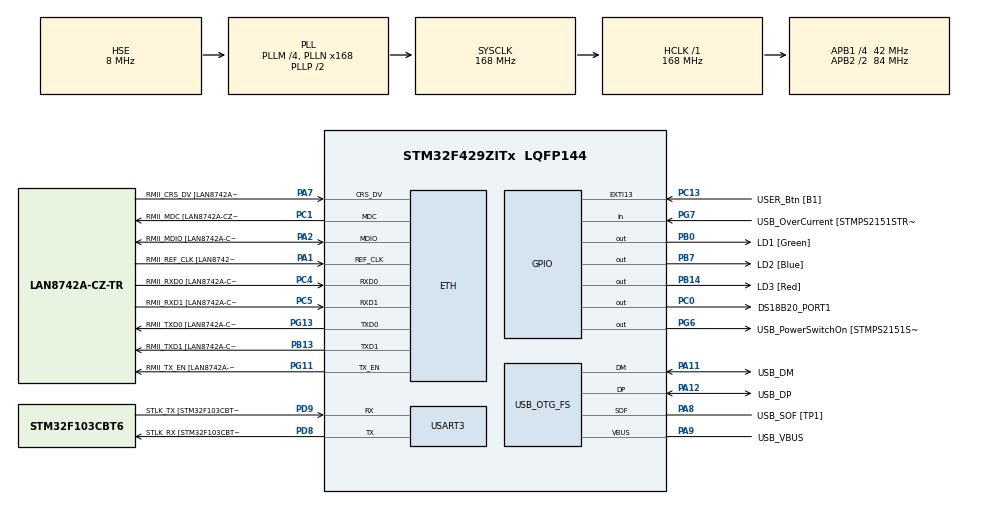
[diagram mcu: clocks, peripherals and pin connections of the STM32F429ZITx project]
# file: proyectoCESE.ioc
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ETH.MediaInterface=HAL_ETH_RMII_MODE
ETH.PHY_Name=LAN8742A_PHY_ADDRESS
ETH.PHY_Value=0
ETH.PhyAddress=0
Mcu.Family=STM32F4
Mcu.Name=STM32F429ZITx
Mcu.Package=LQFP144
NVIC.PriorityGroup=NVIC_PRIORITYGROUP_4
PA1.GPIO_Label=RMII_REF_CLK [LAN8742A-CZ-TR_REFCLK0]
PA1.Mode=RMII
PA1.Signal=ETH_REF_CLK
PA10.GPIO_Label=USB_ID
PA10.Signal=USB_OTG_FS_ID
PA11.GPIO_Label=USB_DM
PA11.Mode=Device_Only
PA11.Signal=USB_OTG_FS_DM
PA12.GPIO_Label=USB_DP
PA12.Mode=Device_Only
PA12.Signal=USB_OTG_FS_DP
PA13.GPIO_Label=TMS
PA13.Mode=Serial_Wire
PA13.Signal=SYS_JTMS-SWDIO
PA14.GPIO_Label=TCK
PA14.Mode=Serial_Wire
PA14.Signal=SYS_JTCK-SWCLK
PA2.GPIO_Label=RMII_MDIO [LAN8742A-CZ-TR_MDIO]
PA2.Mode=RMII
PA2.Signal=ETH_MDIO
PA7.GPIO_Label=RMII_CRS_DV [LAN8742A-CZ-TR_CRS_DV]
PA7.Mode=RMII
PA7.Signal=ETH_CRS_DV
PA8.GPIO_Label=USB_SOF [TP1]
PA8.Mode=Activate_SOF_FS
PA8.Signal=USB_OTG_FS_SOF
PA9.GPIO_Label=USB_VBUS
PA9.Mode=Activate_VBUS
PA9.Signal=USB_OTG_FS_VBUS
PB0.GPIO_Label=LD1 [Green]
PB0.Signal=GPIO_Output
PB13.GPIO_Label=RMII_TXD1 [LAN8742A-CZ-TR_TXD1]
PB13.Mode=RMII
PB13.Signal=ETH_TXD1
PB14.GPIO_Label=LD3 [Red]
PB14.Signal=GPIO_Output
PB7.GPIO_Label=LD2 [Blue]
PB7.Signal=GPIO_Output
PC0.GPIO_Label=DS18B20_PORT1
PC0.GPIO_ModeDefaultOutputPP=GPIO_MODE_OUTPUT_PP
PC0.GPIO_Speed=GPIO_SPEED_FREQ_HIGH
PC0.Signal=GPIO_Output
PC1.GPIO_Label=RMII_MDC [LAN8742A-CZ-TR_MDC]
PC1.Mode=RMII
PC1.Signal=ETH_MDC
PC13.GPIO_Label=USER_Btn [B1]
PC13.Signal=GPXTI13
PC14/OSC32_IN.Mode=LSE-External-Oscillator
PC14/OSC32_IN.Signal=RCC_OSC32_IN
PC15/OSC32_OUT.Mode=LSE-External-Oscillator
PC15/OSC32_OUT.Signal=RCC_OSC32_OUT
PC4.GPIO_Label=RMII_RXD0 [LAN8742A-CZ-TR_RXD0]
PC4.Mode=RMII
PC4.Signal=ETH_RXD0
PC5.GPIO_Label=RMII_RXD1 [LAN8742A-CZ-TR_RXD1]
PC5.Mode=RMII
PC5.Signal=ETH_RXD1
PD8.GPIO_Label=STLK_RX [STM32F103CBT6_PA3]
PD8.Mode=Asynchronous
PD8.Signal=USART3_TX
PD9.GPIO_Label=STLK_TX [STM32F103CBT6_PA2]
PD9.Mode=Asynchronous
PD9.Signal=USART3_RX
PG11.GPIO_Label=RMII_TX_EN [LAN8742A-CZ-TR_TXEN]
PG11.Mode=RMII
PG11.Signal=ETH_TX_EN
PG13.GPIO_Label=RMII_TXD0 [LAN8742A-CZ-TR_TXD0]
PG13.Mode=RMII
PG13.Signal=ETH_TXD0
PG6.GPIO_Label=USB_PowerSwitchOn [STMPS2151STR_EN]
PG6.Signal=GPIO_Output
PG7.GPIO_Label=USB_OverCurrent [STMPS2151STR_FAULT]
PG7.Signal=GPIO_Input
PH0/OSC_IN.GPIO_Label=MCO [STM32F103CBT6_PA8]
PH0/OSC_IN.Mode=HSE-External-Clock-Source
PH0/OSC_IN.Signal=RCC_OSC_IN
PH1/OSC_OUT.Mode=HSE-External-Clock-Source
PH1/OSC_OUT.Signal=RCC_OSC_OUT
ProjectManager.HeapSize=0x200
ProjectManager.StackSize=0x400
ProjectManager.TargetToolchain=STM32CubeIDE
RCC.48MHZClocksFreq_Value=48000000
RCC.AHBFreq_Value=168000000
RCC.APB1CLKDivider=RCC_HCLK_DIV4
RCC.APB1Freq_Value=42000000
RCC.APB1TimFreq_Value=84000000
RCC.APB2CLKDivider=RCC_HCLK_DIV2
RCC.APB2Freq_Value=84000000
RCC.APB2TimCLKDivider=2
RCC.APB2TimFreq_Value=168000000
RCC.CortexFreq_Value=168000000
RCC.HCLKFreq_Value=168000000
RCC.HSE_VALUE=8000000
RCC.HSI_VALUE=16000000
RCC.PLLM=4
RCC.PLLMUL=RCC_PLL_MUL9
RCC.PLLN=168
RCC.PLLQ=7
RCC.PRESCALERUSB=RCC_USBCLKSOURCE_PLL_DIV1_5
RCC.SYSCLKFreq_VALUE=168000000
RCC.SYSCLKSource=RCC_SYSCLKSOURCE_PLLCLK
RCC.SYSCLKSourceVirtual=RCC_SYSCLKSOURCE_PLLCLK
RCC.USBFreq_Value=48000000
RCC.VCOOutputFreq_Value=336000000
TIM7.AutoReloadPreload=TIM_AUTORELOAD_PRELOAD_DISABLE
TIM7.Prescaler=84
TIM7.TIM_MasterOutputTrigger=TIM_TRGO_ENABLE
USART3.VirtualMode=VM_ASYNC
USB_OTG_FS.VirtualMode=Device_Only
VP_TIM7_VS_ClockSourceINT.Mode=Enable_Timer
board=NUCLEO-F429ZI

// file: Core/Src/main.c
/* USER CODE BEGIN Header */
/**
  ******************************************************************************
  * @file           : main.c
  * @brief          : Main program body
  ******************************************************************************
  * @attention
  *
  * Copyright (c) 2022 STMicroelectronics.
  * All rights reserved.
  *
  * This software is licensed under terms that can be found in the LICENSE file
  * in the root directory of this software component.
  * If no LICENSE file comes with this software, it is provided AS-IS.
  *
  ******************************************************************************
  */
/* USER CODE END Header */
#include "main.h"
#include "string.h"

/* USER CODE BEGIN Includes */
#include "maxim_ds18b20.h"

/* USER CODE END Includes */

/* USER CODE BEGIN PTD */
typedef struct
{
	GPIO_TypeDef* settings;
	uint16_t pin;
}GenericGPIO_t;
/* USER CODE END PTD */

ETH_TxPacketConfig TxConfig;
ETH_DMADescTypeDef  DMARxDscrTab[ETH_RX_DESC_CNT]; /* Ethernet Rx DMA Descriptors */
ETH_DMADescTypeDef  DMATxDscrTab[ETH_TX_DESC_CNT]; /* Ethernet Tx DMA Descriptors */

ETH_HandleTypeDef heth;

TIM_HandleTypeDef htim7;

UART_HandleTypeDef huart3;

PCD_HandleTypeDef hpcd_USB_OTG_FS;

/* USER CODE BEGIN PV */
void delay_us(uint32_t delay)
{
	  __HAL_TIM_SET_COUNTER(&htim7, 0);
	  while (__HAL_TIM_GET_COUNTER(&htim7) < delay);
}

void set_gpio_output(void* gpio)
{
	GPIO_InitTypeDef GPIO_InitStruct = {0};
	/*Configure GPIO pin : DS18B20_PORT1_Pin */
	GPIO_InitStruct.Pin = ((GenericGPIO_t*)gpio)->pin;
	GPIO_InitStruct.Mode = GPIO_MODE_OUTPUT_PP;
	GPIO_InitStruct.Pull = GPIO_NOPULL;
	GPIO_InitStruct.Speed = GPIO_SPEED_FREQ_HIGH;
	HAL_GPIO_Init(((GenericGPIO_t*)gpio)->settings, &GPIO_InitStruct);
}

void set_gpio_low(void* gpio)
{
	HAL_GPIO_WritePin(((GenericGPIO_t*)gpio)->settings, ((GenericGPIO_t*)gpio)->pin, GPIO_PIN_RESET);
	//HAL_GPIO_WritePin(DS18B20_PORT1_GPIO_Port, DS18B20_PORT1_Pin, GPIO_PIN_RESET);
}

void set_gpio_input(void* gpio)
{
	GPIO_InitTypeDef GPIO_InitStruct = {0};
	/*Configure GPIO pin : DS18B20_PORT1_Pin */
	GPIO_InitStruct.Pin = ((GenericGPIO_t*)gpio)->pin;
	GPIO_InitStruct.Mode = GPIO_MODE_INPUT;
	GPIO_InitStruct.Pull = GPIO_NOPULL;
	GPIO_InitStruct.Speed = GPIO_SPEED_FREQ_HIGH;
	HAL_GPIO_Init(((GenericGPIO_t*)gpio)->settings, &GPIO_InitStruct);
}

bool read_gpio(void* gpio)
{
	return (HAL_GPIO_ReadPin(((GenericGPIO_t*)gpio)->settings,((GenericGPIO_t*)gpio)->pin) == GPIO_PIN_SET) ? true : false;
}

/* USER CODE END PV */

void SystemClock_Config(void);
static void MX_GPIO_Init(void);
static void MX_ETH_Init(void);
static void MX_USART3_UART_Init(void);
static void MX_USB_OTG_FS_PCD_Init(void);
static void MX_TIM7_Init(void);

int main(void)
{
  /* USER CODE BEGIN 1 */
	GenericGPIO_t oneWirePort = {	.settings=DS18B20_PORT1_GPIO_Port, .pin=DS18B20_PORT1_Pin};
	oneWire_t oneWire = {
			.set_output = set_gpio_output,
			.one_wire_pulldown = set_gpio_low,
			.one_wire_read = read_gpio,
			.one_wire_release = set_gpio_input,
			.delay_us = delay_us,
			.port = &oneWirePort
	};

	oneWire.set_output = set_gpio_output;
  /* USER CODE END 1 */

  /* MCU Configuration--------------------------------------------------------*/

  /* Reset of all peripherals, Initializes the Flash interface and the Systick. */
  HAL_Init();

  /* Configure the system clock */
  SystemClock_Config();

  /* Initialize all configured peripherals */
  MX_GPIO_Init();
  MX_ETH_Init();
  MX_USART3_UART_Init();
  MX_USB_OTG_FS_PCD_Init();
  MX_TIM7_Init();

  /* Infinite loop */
  while (1)
  {
#if 1
	  oneWire.set_output(oneWire.port);
	  oneWire.one_wire_pulldown(oneWire.port);
	  HAL_GPIO_WritePin(GPIOB, LD1_Pin|LD3_Pin|LD2_Pin, GPIO_PIN_SET);
	  for (uint32_t i = 0; i<1000; ++i) oneWire.delay_us(1000);
	  oneWire.one_wire_release(oneWire.port);
	  HAL_GPIO_WritePin(GPIOB, LD1_Pin|LD3_Pin|LD2_Pin, GPIO_PIN_RESET);
	  for (uint32_t i = 0; i<1000; ++i) oneWire.delay_us(1000);
#endif
#if 0
	    GPIO_InitTypeDef GPIO_InitStruct = {0};

	    /*Configure GPIO pin : DS18B20_PORT1_Pin */
	    GPIO_InitStruct.Pin = DS18B20_PORT1_Pin;
	    //GPIO_InitStruct.Mode = GPIO_MODE_OUTPUT_PP;
	    GPIO_InitStruct.Mode = GPIO_MODE_INPUT;
	    GPIO_InitStruct.Pull = GPIO_NOPULL;
	    GPIO_InitStruct.Speed = GPIO_SPEED_FREQ_HIGH;
	    HAL_GPIO_Init(DS18B20_PORT1_GPIO_Port, &GPIO_InitStruct);
	  for (uint32_t i = 0; i<1000; ++i) oneWire.delay_us(1000);

	  /*Configure GPIO pin : DS18B20_PORT1_Pin */
	  /*Configure GPIO pin Output Level */
	    HAL_GPIO_WritePin(DS18B20_PORT1_GPIO_Port, DS18B20_PORT1_Pin, GPIO_PIN_RESET);
	  	    GPIO_InitStruct.Pin = DS18B20_PORT1_Pin;
	  	    GPIO_InitStruct.Mode = GPIO_MODE_OUTPUT_PP;
	  	    //GPIO_InitStruct.Mode = GPIO_MODE_INPUT;
	  	    GPIO_InitStruct.Pull = GPIO_NOPULL;
	  	    GPIO_InitStruct.Speed = GPIO_SPEED_FREQ_HIGH;
	  	    HAL_GPIO_Init(DS18B20_PORT1_GPIO_Port, &GPIO_InitStruct);
	  	  for (uint32_t i = 0; i<1000; ++i) oneWire.delay_us(1000);
#endif
  }
}

void SystemClock_Config(void)
{
  RCC_OscInitTypeDef RCC_OscInitStruct = {0};
  RCC_ClkInitTypeDef RCC_ClkInitStruct = {0};

  /** Configure the main internal regulator output voltage
  */
  __HAL_RCC_PWR_CLK_ENABLE();
  __HAL_PWR_VOLTAGESCALING_CONFIG(PWR_REGULATOR_VOLTAGE_SCALE1);

  /** Initializes the RCC Oscillators according to the specified parameters
  * in the RCC_OscInitTypeDef structure.
  */
  RCC_OscInitStruct.OscillatorType = RCC_OSCILLATORTYPE_HSE;
  RCC_OscInitStruct.HSEState = RCC_HSE_BYPASS;
  RCC_OscInitStruct.PLL.PLLState = RCC_PLL_ON;
  RCC_OscInitStruct.PLL.PLLSource = RCC_PLLSOURCE_HSE;
  RCC_OscInitStruct.PLL.PLLM = 4;
  RCC_OscInitStruct.PLL.PLLN = 168;
  RCC_OscInitStruct.PLL.PLLP = RCC_PLLP_DIV2;
  RCC_OscInitStruct.PLL.PLLQ = 7;
  if (HAL_RCC_OscConfig(&RCC_OscInitStruct) != HAL_OK)
  {
    Error_Handler();
  }

  /** Initializes the CPU, AHB and APB buses clocks
  */
  RCC_ClkInitStruct.ClockType = RCC_CLOCKTYPE_HCLK|RCC_CLOCKTYPE_SYSCLK
                              |RCC_CLOCKTYPE_PCLK1|RCC_CLOCKTYPE_PCLK2;
  RCC_ClkInitStruct.SYSCLKSource = RCC_SYSCLKSOURCE_PLLCLK;
  RCC_ClkInitStruct.AHBCLKDivider = RCC_SYSCLK_DIV1;
  RCC_ClkInitStruct.APB1CLKDivider = RCC_HCLK_DIV4;
  RCC_ClkInitStruct.APB2CLKDivider = RCC_HCLK_DIV2;

  if (HAL_RCC_ClockConfig(&RCC_ClkInitStruct, FLASH_LATENCY_5) != HAL_OK)
  {
    Error_Handler();
  }
}

static void MX_ETH_Init(void)
{

   static uint8_t MACAddr[6];

  heth.Instance = ETH;
  MACAddr[0] = 0x00;
  MACAddr[1] = 0x80;
  MACAddr[2] = 0xE1;
  MACAddr[3] = 0x00;
  MACAddr[4] = 0x00;
  MACAddr[5] = 0x00;
  heth.Init.MACAddr = &MACAddr[0];
  heth.Init.MediaInterface = HAL_ETH_RMII_MODE;
  heth.Init.TxDesc = DMATxDscrTab;
  heth.Init.RxDesc = DMARxDscrTab;
  heth.Init.RxBuffLen = 1524;

  if (HAL_ETH_Init(&heth) != HAL_OK)
  {
    Error_Handler();
  }

  memset(&TxConfig, 0 , sizeof(ETH_TxPacketConfig));
  TxConfig.Attributes = ETH_TX_PACKETS_FEATURES_CSUM | ETH_TX_PACKETS_FEATURES_CRCPAD;
  TxConfig.ChecksumCtrl = ETH_CHECKSUM_IPHDR_PAYLOAD_INSERT_PHDR_CALC;
  TxConfig.CRCPadCtrl = ETH_CRC_PAD_INSERT;

}

static void MX_TIM7_Init(void)
{

  TIM_MasterConfigTypeDef sMasterConfig = {0};

  htim7.Instance = TIM7;
  htim7.Init.Prescaler = 84;
  htim7.Init.CounterMode = TIM_COUNTERMODE_UP;
  htim7.Init.Period = 65535;
  htim7.Init.AutoReloadPreload = TIM_AUTORELOAD_PRELOAD_DISABLE;
  if (HAL_TIM_Base_Init(&htim7) != HAL_OK)
  {
    Error_Handler();
  }
  sMasterConfig.MasterOutputTrigger = TIM_TRGO_ENABLE;
  sMasterConfig.MasterSlaveMode = TIM_MASTERSLAVEMODE_DISABLE;
  if (HAL_TIMEx_MasterConfigSynchronization(&htim7, &sMasterConfig) != HAL_OK)
  {
    Error_Handler();
  }
  /* USER CODE BEGIN TIM7_Init 2 */
  HAL_TIM_Base_Start(&htim7);
  /* USER CODE END TIM7_Init 2 */

}

static void MX_USART3_UART_Init(void)
{

  huart3.Instance = USART3;
  huart3.Init.BaudRate = 115200;
  huart3.Init.WordLength = UART_WORDLENGTH_8B;
  huart3.Init.StopBits = UART_STOPBITS_1;
  huart3.Init.Parity = UART_PARITY_NONE;
  huart3.Init.Mode = UART_MODE_TX_RX;
  huart3.Init.HwFlowCtl = UART_HWCONTROL_NONE;
  huart3.Init.OverSampling = UART_OVERSAMPLING_16;
  if (HAL_UART_Init(&huart3) != HAL_OK)
  {
    Error_Handler();
  }

}

static void MX_USB_OTG_FS_PCD_Init(void)
{

  hpcd_USB_OTG_FS.Instance = USB_OTG_FS;
  hpcd_USB_OTG_FS.Init.dev_endpoints = 4;
  hpcd_USB_OTG_FS.Init.speed = PCD_SPEED_FULL;
  hpcd_USB_OTG_FS.Init.dma_enable = DISABLE;
  hpcd_USB_OTG_FS.Init.phy_itface = PCD_PHY_EMBEDDED;
  hpcd_USB_OTG_FS.Init.Sof_enable = ENABLE;
  hpcd_USB_OTG_FS.Init.low_power_enable = DISABLE;
  hpcd_USB_OTG_FS.Init.lpm_enable = DISABLE;
  hpcd_USB_OTG_FS.Init.vbus_sensing_enable = ENABLE;
  hpcd_USB_OTG_FS.Init.use_dedicated_ep1 = DISABLE;
  if (HAL_PCD_Init(&hpcd_USB_OTG_FS) != HAL_OK)
  {
    Error_Handler();
  }

}

static void MX_GPIO_Init(void)
{
  GPIO_InitTypeDef GPIO_InitStruct = {0};

  /* GPIO Ports Clock Enable */
  __HAL_RCC_GPIOC_CLK_ENABLE();
  __HAL_RCC_GPIOH_CLK_ENABLE();
  __HAL_RCC_GPIOA_CLK_ENABLE();
  __HAL_RCC_GPIOB_CLK_ENABLE();
  __HAL_RCC_GPIOD_CLK_ENABLE();
  __HAL_RCC_GPIOG_CLK_ENABLE();

  /*Configure GPIO pin Output Level */
  HAL_GPIO_WritePin(DS18B20_PORT1_GPIO_Port, DS18B20_PORT1_Pin, GPIO_PIN_SET);

  /*Configure GPIO pin Output Level */
  HAL_GPIO_WritePin(GPIOB, LD1_Pin|LD3_Pin|LD2_Pin, GPIO_PIN_SET);

  /*Configure GPIO pin Output Level */
  HAL_GPIO_WritePin(USB_PowerSwitchOn_GPIO_Port, USB_PowerSwitchOn_Pin, GPIO_PIN_RESET);

  /*Configure GPIO pin : USER_Btn_Pin */
  GPIO_InitStruct.Pin = USER_Btn_Pin;
  GPIO_InitStruct.Mode = GPIO_MODE_IT_RISING;
  GPIO_InitStruct.Pull = GPIO_NOPULL;
  HAL_GPIO_Init(USER_Btn_GPIO_Port, &GPIO_InitStruct);

  /*Configure GPIO pin : DS18B20_PORT1_Pin */
  GPIO_InitStruct.Pin = DS18B20_PORT1_Pin;
  //GPIO_InitStruct.Mode = GPIO_MODE_OUTPUT_PP;
  GPIO_InitStruct.Mode = GPIO_MODE_INPUT;
  GPIO_InitStruct.Pull = GPIO_NOPULL;
  GPIO_InitStruct.Speed = GPIO_SPEED_FREQ_HIGH;
  HAL_GPIO_Init(DS18B20_PORT1_GPIO_Port, &GPIO_InitStruct);

  /*Configure GPIO pins : LD1_Pin LD3_Pin LD2_Pin */
  GPIO_InitStruct.Pin = LD1_Pin|LD3_Pin|LD2_Pin;
  GPIO_InitStruct.Mode = GPIO_MODE_OUTPUT_PP;
  GPIO_InitStruct.Pull = GPIO_NOPULL;
  GPIO_InitStruct.Speed = GPIO_SPEED_FREQ_LOW;
  HAL_GPIO_Init(GPIOB, &GPIO_InitStruct);

  /*Configure GPIO pin : USB_PowerSwitchOn_Pin */
  GPIO_InitStruct.Pin = USB_PowerSwitchOn_Pin;
  GPIO_InitStruct.Mode = GPIO_MODE_OUTPUT_PP;
  GPIO_InitStruct.Pull = GPIO_NOPULL;
  GPIO_InitStruct.Speed = GPIO_SPEED_FREQ_LOW;
  HAL_GPIO_Init(USB_PowerSwitchOn_GPIO_Port, &GPIO_InitStruct);

  /*Configure GPIO pin : USB_OverCurrent_Pin */
  GPIO_InitStruct.Pin = USB_OverCurrent_Pin;
  GPIO_InitStruct.Mode = GPIO_MODE_INPUT;
  GPIO_InitStruct.Pull = GPIO_NOPULL;
  HAL_GPIO_Init(USB_OverCurrent_GPIO_Port, &GPIO_InitStruct);

}

void Error_Handler(void)
{
  __disable_irq();
  while (1)
  {
  }
}
